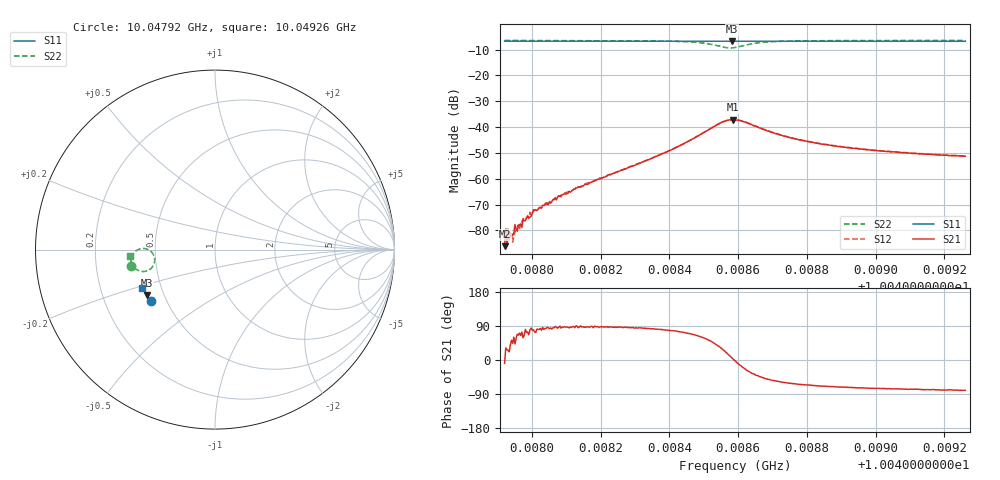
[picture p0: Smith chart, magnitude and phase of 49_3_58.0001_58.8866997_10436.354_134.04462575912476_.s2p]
#  HZ  S  RI  R  50.00
! Rohde & Schwarz Vector Network Analyzer
! Rohde-Schwarz,ZNB20-2Port,1311601062101988,3.16
! Created: UTC 3/21/2024, 12:52:25 AM
! freq[Hz]  re:S11  im:S11  re:S21  im:S21  re:S12  im:S12  re:S22  im:S22
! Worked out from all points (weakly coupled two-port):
!   401 points, 10.04792 GHz to 10.04926 GHz, reference 50 ohm
!   highest |S21| = -37.10 dB at 10.04858 GHz (marker M1); lowest = -86.1 dB at 10.04792 GHz (marker M2)
!   lowest |S11| = -6.8 dB at 10.04858 GHz (marker M3), VSWR 2.68, Z = 20.1 - j12.8 ohm
!   |S11| at or under -10 dB: nowhere
!   |S22| runs from -9.4 to -6.5 dB; largest |S21 - S12| = 0.001
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1.004792e10  -0.3574 -0.2891  4.9e-05 -7.61e-06  8.2e-05 1.1e-06  -0.4655 -0.0928
1.004794e10  -0.3581 -0.2881  5.36e-05 6.84e-05  4.23e-05 6.99e-05  -0.4656 -0.091
1.0047957e10  -0.3588 -0.2871  3.61e-05 8.99e-05  3.69e-05 0.000111  -0.4658 -0.0894
1.0047964e10  -0.359 -0.2866  4.18e-05 0.000121  4.52e-05 9.33e-05  -0.466 -0.089
1.0047974e10  -0.3594 -0.2861  8.43e-05 0.000139  3.97e-05 0.000163  -0.466 -0.0881
1.0047981e10  -0.3597 -0.2857  2.51e-05 0.000152  2.15e-05 0.000182  -0.4662 -0.0876
1.0048014e10  -0.361 -0.2839  3.55e-05 0.000239  2.48e-05 0.000242  -0.4663 -0.0845
1.0048081e10  -0.3636 -0.2804  4.11e-06 0.000457  -1.12e-06 0.000465  -0.4669 -0.0781
1.0048145e10  -0.3662 -0.277  4.03e-05 0.000724  6.81e-07 0.000713  -0.4671 -0.0715
1.0048369e10  -0.3747 -0.2644  0.00045 0.00282  0.000273 0.00287  -0.4617 -0.0372
1.0048443e10  -0.3773 -0.2601  0.00146 0.00462  0.00119 0.00467  -0.4495 -0.0167
1.0048524e10  -0.3798 -0.2552  0.00652 0.00726  0.00613 0.00764  -0.397 0.00624
1.0048557e10  -0.3803 -0.2534  0.0114 0.00561  0.0111 0.00631  -0.3526 -0.0147
1.0048581e10  -0.3809 -0.2524  0.0138 0.00156  0.0137 0.00243  -0.3362 -0.0558
1.0048584e10  -0.3811 -0.2523  0.0139 0.000788  0.0139 0.00182  -0.3362 -0.0623
1.0048591e10  -0.3812 -0.2521  0.0137 -0.000627  0.014 0.000371  -0.3383 -0.0752
1.0048627e10  -0.3826 -0.2507  0.0105 -0.00568  0.011 -0.00498  -0.378 -0.1181
1.0048674e10  -0.3846 -0.2483  0.00612 -0.00663  0.00656 -0.00631  -0.423 -0.1184
1.0048731e10  -0.387 -0.2451  0.00348 -0.00578  0.00391 -0.00558  -0.4473 -0.1026
1.0048815e10  -0.39 -0.24  0.00199 -0.00468  0.00226 -0.00458  -0.461 -0.0838
1.004904e10  -0.3972 -0.2269  0.00082 -0.00325  0.00103 -0.00324  -0.4708 -0.0535
1.0049261e10  -0.4042 -0.214  0.000471 -0.00269  0.000638 -0.00268  -0.4734 -0.0331
